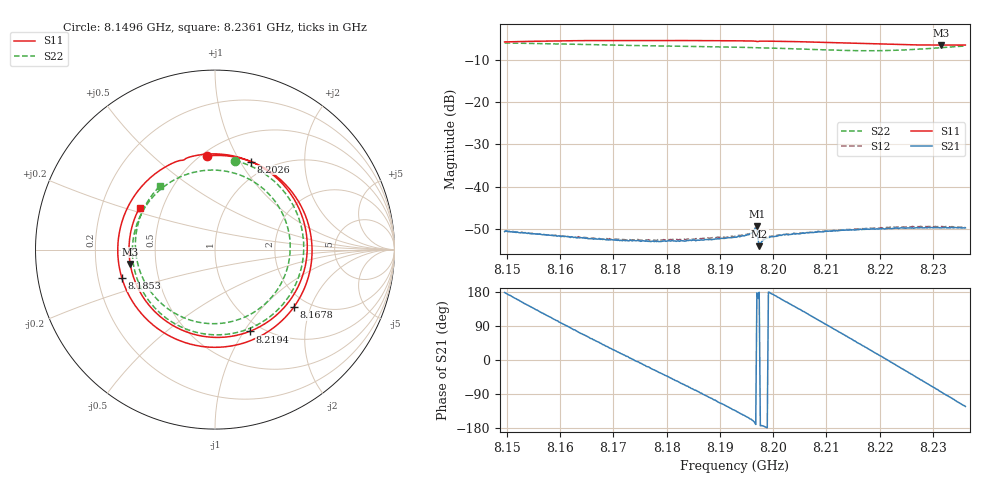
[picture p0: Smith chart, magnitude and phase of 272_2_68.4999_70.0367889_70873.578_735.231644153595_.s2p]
#  HZ  S  RI  R  50.00
! Rohde & Schwarz Vector Network Analyzer
! Rohde-Schwarz,ZNB20-2Port,1311601062101988,3.16
! Created: UTC 3/20/2024, 5:00:48 PM
! freq[Hz]  re:S11  im:S11  re:S21  im:S21  re:S12  im:S12  re:S22  im:S22
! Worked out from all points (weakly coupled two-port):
!   401 points, 8.1496 GHz to 8.2361 GHz, reference 50 ohm
!   highest |S21| = -49.46 dB at 8.197 GHz (marker M1); lowest = -54.2 dB at 8.1974 GHz (marker M2)
!   lowest |S11| = -6.4 dB at 8.2316 GHz (marker M3), VSWR 2.84, Z = 17.7 - j3.65 ohm
!   |S11| at or under -10 dB: nowhere
!   |S22| runs from -7.7 to -5.9 dB; largest |S21 - S12| = 0.00025
!   S11 on the Smith chart (normalised r, x): 8.1496 GHz: 0.53, +0.77; 8.1678 GHz: 1.69, -1.54; 8.1853 GHz: 0.30, -0.14; 8.2026 GHz: 0.82, +1.12; 8.2194 GHz: 0.88, -1.06; 8.2361 GHz: 0.37, +0.23
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8.149582e9  -0.043 0.5215  -0.00292 9.06e-05  -0.00297 0.000177  0.1111 0.495
8.153259e9  0.2016 0.4899  -0.00243 0.00145  -0.00244 0.00143  0.3183 0.3908
8.157368e9  0.4227 0.329  -0.00127 0.00234  -0.00128 0.00235  0.4638 0.1838
8.160829e9  0.5252 0.1225  -0.000142 0.00256  -0.000144 0.00254  0.4931 -0.024
8.164074e9  0.5336 -0.0937  0.000873 0.0023  0.000887 0.00233  0.4411 -0.21
8.167751e9  0.439 -0.3204  0.00173 0.00163  0.00171 0.00164  0.3038 -0.3757
8.173375e9  0.1288 -0.529  0.00228 0.000146  0.00231 0.000134  0.000187 -0.4748
8.178566e9  -0.2194 -0.4978  0.00186 -0.0012  0.00197 -0.00129  -0.2742 -0.38
8.185271e9  -0.5183 -0.1604  0.000423 -0.00227  0.000392 -0.00233  -0.457 -0.0642
8.188948e9  -0.5331 0.0937  -0.000625 -0.00228  -0.000701 -0.00235  -0.4366 0.1377
8.192841e9  -0.4196 0.3389  -0.00173 -0.00182  -0.00185 -0.0018  -0.3215 0.319
8.196519e9  -0.2117 0.4917  -0.00294 -0.000811  -0.00301 -0.000719  -0.1459 0.423
8.196951e9  -0.1809 0.4978  -0.00336 0.000168  -0.00342 0.000312  -0.1224 0.4297
8.197384e9  -0.1608 0.5083  -0.00196 4.38e-05  -0.002 0.000112  -0.0987 0.4349
8.202575e9  0.2005 0.4905  -0.00241 0.00124  -0.00236 0.00137  0.1887 0.3933
8.207334e9  0.4474 0.2689  -0.00119 0.00259  -0.00114 0.00263  0.3782 0.1961
8.213174e9  0.4914 -0.135  0.00115 0.0028  0.00123 0.00279  0.3873 -0.1484
8.219446e9  0.1932 -0.4557  0.00302 0.0009  0.00311 0.000804  0.0934 -0.4007
8.221826e9  0.025 -0.4892  0.00317 -0.000151  0.00327 -0.000275  -0.0639 -0.4092
8.227233e9  -0.3303 -0.3505  0.00215 -0.00241  0.00211 -0.00258  -0.3684 -0.2194
8.231559e9  -0.4724 -0.0793  0.000315 -0.00321  0.000143 -0.00335  -0.4417 0.0688
8.236101e9  -0.42 0.234  -0.00174 -0.00273  -0.00195 -0.00265  -0.3079 0.3529
